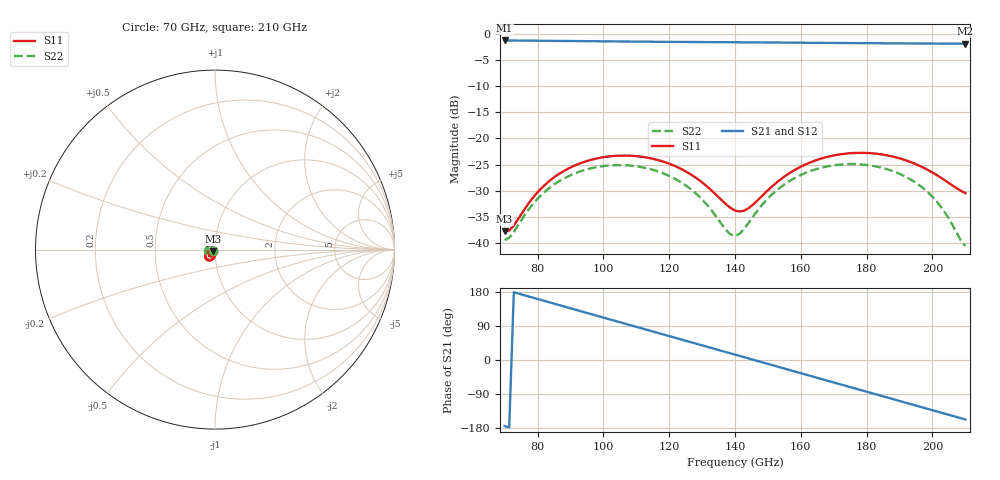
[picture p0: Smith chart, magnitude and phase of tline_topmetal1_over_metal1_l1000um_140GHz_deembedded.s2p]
! Created with skrf 2.0.1 (http://scikit-rf.org).
# GHz S DB R 50.0
!freq dBS11 angS11 dBS21 angS21 dBS12 angS12 dBS22 angS22
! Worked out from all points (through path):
!   101 points, 70 GHz to 210 GHz, reference 50 ohm
!   highest |S21| = -1.20 dB at 70 GHz (marker M1); lowest = -1.8 dB at 210 GHz (marker M2)
!   group delay of S21, straight-line fit = 6.8 ps
!   lowest |S11| = -37.8 dB at 70 GHz (marker M3), VSWR 1.03, Z = 49.1 - j0.87 ohm
!   |S11| at or under -10 dB: start of sweep to end of sweep
!   |S22| runs from -40.6 to -24.9 dB; largest |S21 - S12| = 1.5e-13
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70  -37.83 -136.3  -1.20 -174.4  -1.20 -174.4  -39.47 -144.2
72.8  -36.69 -108.6  -1.21 178.7  -1.21 178.7  -37.91 -117.9
78.4  -31.51 -89.9  -1.24 165.0  -1.24 165.0  -32.72 -103.6
82.6  -28.68 -91.4  -1.27 154.7  -1.27 154.7  -30.00 -106.9
93.8  -24.57 -109.0  -1.33 127.2  -1.33 127.2  -26.14 -128.2
100.8  -23.51 -122.4  -1.37 110.0  -1.37 110.0  -25.23 -143.9
106.4  -23.28 -133.3  -1.40 96.3  -1.40 96.3  -25.13 -156.5
117.6  -24.32 -153.6  -1.46 69.0  -1.46 69.0  -26.54 179.3
127.4  -27.23 -166.1  -1.50 45.0  -1.50 45.0  -30.14 163.3
131.6  -29.25 -166.9  -1.51 34.7  -1.51 34.7  -32.80 161.6
137.2  -32.56 -156.2  -1.53 21.0  -1.53 21.0  -37.49 178.0
140  -33.81 -142.2  -1.55 14.2  -1.55 14.2  -38.69 -158.1
144.2  -33.34 -116.6  -1.56 3.9  -1.56 3.9  -36.11 -127.6
152.6  -28.47 -98.1  -1.60 -16.7  -1.60 -16.7  -29.96 -121.4
163.8  -24.36 -107.8  -1.65 -44.1  -1.65 -44.1  -26.05 -140.0
170.8  -23.16 -118.4  -1.68 -61.2  -1.68 -61.2  -25.08 -154.6
176.4  -22.78 -127.4  -1.71 -74.9  -1.71 -74.9  -24.91 -166.7
187.6  -23.41 -144.6  -1.75 -102.2  -1.75 -102.2  -26.18 169.4
194.6  -24.82 -152.8  -1.78 -119.3  -1.78 -119.3  -28.34 156.1
200.2  -26.60 -155.8  -1.79 -133.0  -1.79 -133.0  -31.31 148.6
204.4  -28.29 -153.9  -1.81 -143.2  -1.81 -143.2  -34.78 148.9
210  -30.47 -141.2  -1.82 -156.9  -1.82 -156.9  -40.65 -176.0
